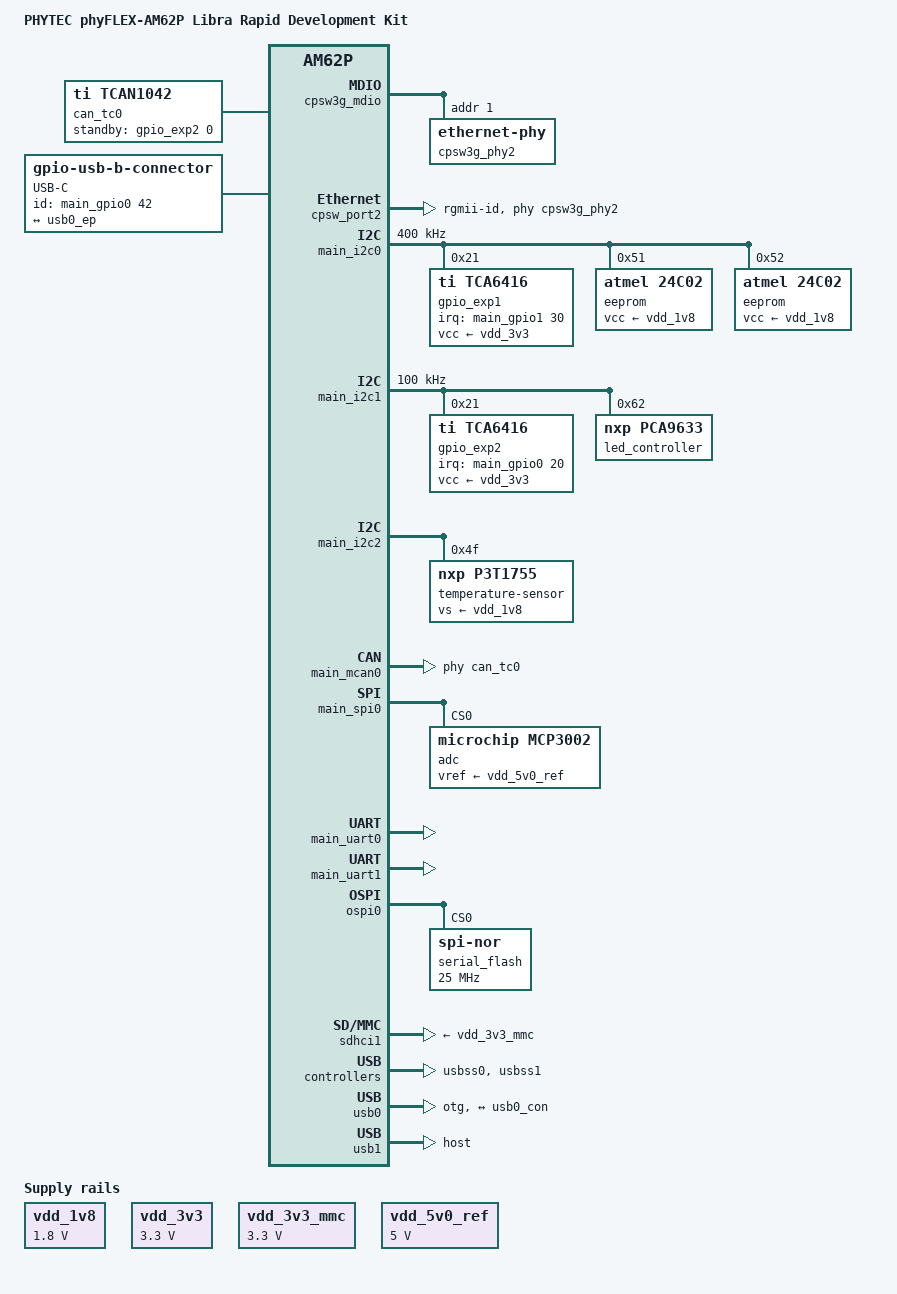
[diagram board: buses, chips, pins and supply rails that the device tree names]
// SPDX-License-Identifier: GPL-2.0-only OR MIT
/*
 * Copyright (C) 2026 PHYTEC America LLC
 * Author: John Ma <jma@phytec.com>
 */

#include <dt-bindings/gpio/gpio.h>
#include <dt-bindings/leds/common.h>
#include <dt-bindings/net/ti-dp83867.h>
#include "k3-am62p5.dtsi"
#include "k3-am62p-phyflex-fpsc-g-som.dtsi"

/ {
	compatible = "phytec,am62p5-phyflex-libra-rdk",
		     "phytec,am62p-phyflex-fpsc-g", "ti,am62p5";
	model = "PHYTEC phyFLEX-AM62P Libra Rapid Development Kit";

	aliases {
		ethernet2 = &cpsw_port2;
		mmc1 = &sdhci1;
		serial2 = &main_uart1;
		serial3 = &main_uart0;
		spi0 = &ospi0;
		spi1 = &main_spi0;
		usb0 = &usb0;
		usb1 = &usb1;
	};

	chosen {
		stdout-path = &main_uart1;
	};

	can_tc0: can-phy0 {
		compatible = "ti,tcan1042";
		#phy-cells = <0>;
		max-bitrate = <8000000>;
		standby-gpios = <&gpio_exp2 0 GPIO_ACTIVE_HIGH>;
	};

	usb0_connector: connector {
		compatible = "gpio-usb-b-connector", "usb-b-connector";
		label = "USB-C";
		data-role = "dual";

		pinctrl-names = "default";
		pinctrl-0 = <&main_usbc_power_pins_default>;

		id-gpios = <&main_gpio0 42 GPIO_ACTIVE_HIGH>;

		port {
			usb0_con: endpoint {
				remote-endpoint = <&usb0_ep>;
			};
		};
	};

	vdd_1v8: regulator-vdd-1v8 {
		compatible = "regulator-fixed";
		regulator-name = "VDD_1V8";
		regulator-min-microvolt = <1800000>;
		regulator-max-microvolt = <1800000>;
		regulator-always-on;
		regulator-boot-on;
	};

	vdd_3v3: regulator-vdd-3v3 {
		compatible = "regulator-fixed";
		regulator-name = "VDD_3V3";
		regulator-min-microvolt = <3300000>;
		regulator-max-microvolt = <3300000>;
		regulator-always-on;
		regulator-boot-on;
	};

	vdd_3v3_mmc: regulator-vdd-3v3-mmc {
		compatible = "regulator-fixed";
		regulator-name = "VDD_3V3_MMC";
		regulator-min-microvolt = <3300000>;
		regulator-max-microvolt = <3300000>;
		regulator-always-on;
		regulator-boot-on;
	};

	vdd_5v0_ref: regulator-vdd-5v0-ref {
		compatible = "regulator-fixed";
		regulator-name = "VDD_5V0_REF";
		regulator-min-microvolt = <5000000>;
		regulator-max-microvolt = <5000000>;
		regulator-always-on;
		regulator-boot-on;
	};
};

&main_pmx0 {
	gpio_exp1_int_pins_default: gpio-exp1-int-default-pins {
		pinctrl-single,pins = <
			AM62PX_IOPAD(0x01f0, PIN_INPUT, 7) /* (C25) EXT_REFCLK1.GPIO1_30 */
		>;
	};

	gpio_exp2_int_pins_default: gpio-exp2-int-default-pins {
		pinctrl-single,pins = <
			AM62PX_IOPAD(0x0050, PIN_INPUT, 7) /* (T21) GPMC0_AD5.GPIO0_20 */
		>;
	};

	main_i2c0_pins_default: main-i2c0-default-pins {
		pinctrl-single,pins = <
			AM62PX_IOPAD(0x01e0, PIN_INPUT, 0) /* (B25) I2C0_SCL */
			AM62PX_IOPAD(0x01e4, PIN_INPUT, 0) /* (A24) I2C0_SDA */
		>;
	};

	main_i2c1_pins_default: main-i2c1-default-pins {
		pinctrl-single,pins = <
			AM62PX_IOPAD(0x01e8, PIN_INPUT, 0) /* (C24) I2C1_SCL */
			AM62PX_IOPAD(0x01ec, PIN_INPUT, 0) /* (B24) I2C1_SDA */
		>;
	};

	main_i2c2_pins_default: main-i2c2-default-pins {
		pinctrl-single,pins = <
			AM62PX_IOPAD(0x00b0, PIN_INPUT, 1) /* (T22) GPMC0_CSn2.I2C2_SCL */
			AM62PX_IOPAD(0x00b4, PIN_INPUT, 1) /* (U25) GPMC0_CSn3.I2C2_SDA */
		>;
	};

	main_mcan0_pins_default: main-mcan0-default-pins {
		pinctrl-single,pins = <
			AM62PX_IOPAD(0x01dc, PIN_INPUT, 0) /* (F20) MCAN0_RX */
			AM62PX_IOPAD(0x01d8, PIN_OUTPUT, 0) /* (B23) MCAN0_TX */
		>;
	};

	main_mmc1_pins_default: main-mmc1-default-pins {
		pinctrl-single,pins = <
			AM62PX_IOPAD(0x023c, PIN_INPUT, 0) /* (H20) MMC1_CMD */
			AM62PX_IOPAD(0x0234, PIN_OUTPUT, 0) /* (J24) MMC1_CLK */
			AM62PX_IOPAD(0x0230, PIN_INPUT, 0) /* (H21) MMC1_DAT0 */
			AM62PX_IOPAD(0x022c, PIN_INPUT, 0) /* (H23) MMC1_DAT1 */
			AM62PX_IOPAD(0x0228, PIN_INPUT, 0) /* (H22) MMC1_DAT2 */
			AM62PX_IOPAD(0x0224, PIN_INPUT, 0) /* (H25) MMC1_DAT3 */
			AM62PX_IOPAD(0x0240, PIN_INPUT, 0) /* (D23) MMC1_SDCD */
		>;
		bootph-all;
	};

	main_rgmii2_pins_default: main-rgmii2-default-pins {
		pinctrl-single,pins = <
			AM62PX_IOPAD(0x0184, PIN_INPUT, 0) /* (E19) RGMII2_RD0 */
			AM62PX_IOPAD(0x0188, PIN_INPUT, 0) /* (E16) RGMII2_RD1 */
			AM62PX_IOPAD(0x018c, PIN_INPUT, 0) /* (E17) RGMII2_RD2 */
			AM62PX_IOPAD(0x0190, PIN_INPUT, 0) /* (C19) RGMII2_RD3 */
			AM62PX_IOPAD(0x0180, PIN_INPUT, 0) /* (D19) RGMII2_RXC */
			AM62PX_IOPAD(0x017c, PIN_INPUT, 0) /* (F19) RGMII2_RX_CTL */
			AM62PX_IOPAD(0x016c, PIN_INPUT, 0) /* (B19) RGMII2_TD0 */
			AM62PX_IOPAD(0x0170, PIN_INPUT, 0) /* (A21) RGMII2_TD1 */
			AM62PX_IOPAD(0x0174, PIN_INPUT, 0) /* (D17) RGMII2_TD2 */
			AM62PX_IOPAD(0x0178, PIN_INPUT, 0) /* (A19) RGMII2_TD3 */
			AM62PX_IOPAD(0x0168, PIN_INPUT, 0) /* (D16) RGMII2_TXC */
			AM62PX_IOPAD(0x0164, PIN_INPUT, 0) /* (A20) RGMII2_TX_CTL */
		>;
	};

	main_spi0_pins_default: main-spi0-default-pins {
		pinctrl-single,pins = <
			AM62PX_IOPAD(0x01bc, PIN_INPUT, 0) /* (B21) SPI0_CLK */
			AM62PX_IOPAD(0x01b4, PIN_INPUT, 0) /* (D20) SPI0_CS0 */
			AM62PX_IOPAD(0x01c0, PIN_INPUT, 0) /* (B20) SPI0_D0 */
			AM62PX_IOPAD(0x01c4, PIN_INPUT, 0) /* (C21) SPI0_D1 */
		>;
	};

	main_uart0_pins_default: main-uart0-default-pins {
		pinctrl-single,pins = <
			AM62PX_IOPAD(0x01c8, PIN_INPUT, 0) /* (A22) UART0_RXD */
			AM62PX_IOPAD(0x01cc, PIN_OUTPUT, 0) /* (B22) UART0_TXD */
		>;
		bootph-all;
	};

	main_uart1_pins_default: main-uart1-default-pins {
		pinctrl-single,pins = <
			AM62PX_IOPAD(0x01ac, PIN_INPUT, 2) /* (G23) MCASP0_AFSR.UART1_RXD */
			AM62PX_IOPAD(0x01b0, PIN_OUTPUT, 2) /* (G20) MCASP0_ACLKR.UART1_TXD */
		>;
		bootph-all;
	};

	main_usb0_pins_default: main-usb0-default-pins {
		pinctrl-single,pins = <
			AM62PX_IOPAD(0x0254, PIN_OUTPUT, 0) /* (G22) USB0_DRVVBUS */
		>;
	};

	main_usb1_pins_default: main-usb1-default-pins {
		pinctrl-single,pins = <
			AM62PX_IOPAD(0x0258, PIN_OUTPUT, 0) /* (G21) USB1_DRVVBUS */
		>;
	};

	main_usbc_power_pins_default: main-usbc-power-default-pins {
		pinctrl-single,pins = <
			AM62PX_IOPAD(0x00ac, PIN_INPUT, 7) /* (U23) GPMC0_CSn1.GPIO0_42 */
		>;
	};

	ospi0_pins_default: ospi0-default-pins {
		pinctrl-single,pins = <
			AM62PX_IOPAD(0x0000, PIN_OUTPUT, 0) /* (P23) OSPI0_CLK */
			AM62PX_IOPAD(0x002c, PIN_OUTPUT, 0) /* (M25) OSPI0_CSn0 */
			AM62PX_IOPAD(0x000c, PIN_INPUT, 0) /* (L25) OSPI0_D0 */
			AM62PX_IOPAD(0x0010, PIN_INPUT, 0) /* (N24) OSPI0_D1 */
			AM62PX_IOPAD(0x0014, PIN_INPUT, 0) /* (N25) OSPI0_D2 */
			AM62PX_IOPAD(0x0018, PIN_INPUT, 0) /* (M24) OSPI0_D3 */
			AM62PX_IOPAD(0x0008, PIN_INPUT, 0) /* (P22) OSPI0_DQS */
		>;
		bootph-all;
	};
};

&cpsw3g {
	pinctrl-names = "default";
	pinctrl-0 = <&main_rgmii1_pins_default>, <&main_rgmii2_pins_default>;
};

&cpsw3g_mdio {
	cpsw3g_phy2: ethernet-phy@1 {
		reg = <1>;
		tx-fifo-depth = <DP83867_PHYCR_FIFO_DEPTH_4_B_NIB>;
		ti,min-output-impedance;
		ti,rx-internal-delay = <DP83867_RGMIIDCTL_2_00_NS>;
	};
};

&cpsw_port2 {
	phy-mode = "rgmii-id";
	phy-handle = <&cpsw3g_phy2>;
	status = "okay";
};

&main_i2c0 {
	pinctrl-names = "default";
	pinctrl-0 = <&main_i2c0_pins_default>;
	clock-frequency = <400000>;
	status = "okay";

	gpio_exp1: gpio@21 {
		pinctrl-names = "default";
		pinctrl-0 = <&gpio_exp1_int_pins_default>;
		compatible = "ti,tca6416";
		reg = <0x21>;
		vcc-supply = <&vdd_3v3>;
		interrupt-parent = <&main_gpio1>;
		interrupts = <30 IRQ_TYPE_EDGE_FALLING>;
		#gpio-cells = <2>;
		gpio-controller;
		interrupt-controller;
		#interrupt-cells = <2>;
		gpio-line-names = "VCONN_nFAULT", "X_CSI1_CTRL1",
				   "X_CSI1_CTRL3", "X_CSI1_CTRL4",
				   "USB-C_nINT/AUDIO_AC", "X_CSI2_CTRL1",
				   "X_CSI2_CTRL3", "X_CSI2_CTRL4",
				   "CLK_EN_AV", "X_W_nDISABLE1",
				   "X_W_nDISABLE2", "X_PCIE1_nWAKE",
				   "X_PCIE2_nWAKE", "X_UART1_nWAKE",
				   "UART1_BT_RS_SEL", "UART1_RS232_485_SEL";
	};

	eeprom@51 {
		compatible = "atmel,24c02";
		reg = <0x51>;
		pagesize = <16>;
		vcc-supply = <&vdd_1v8>;
	};

	eeprom@52 {
		compatible = "atmel,24c02";
		reg = <0x52>;
		pagesize = <16>;
		vcc-supply = <&vdd_1v8>;
	};
};

&main_i2c1 {
	pinctrl-names = "default";
	pinctrl-0 = <&main_i2c1_pins_default>;
	clock-frequency = <100000>;
	status = "okay";

	gpio_exp2: gpio@21 {
		pinctrl-names = "default";
		pinctrl-0 = <&gpio_exp2_int_pins_default>;
		compatible = "ti,tca6416";
		reg = <0x21>;
		vcc-supply = <&vdd_3v3>;
		interrupt-parent = <&main_gpio0>;
		interrupts = <20 IRQ_TYPE_EDGE_FALLING>;
		#gpio-cells = <2>;
		gpio-controller;
		interrupt-controller;
		#interrupt-cells = <2>;
		gpio-line-names = "CAN1_STBY", "CAN2_STBY",
				   "CAN3_STBY", "X_KEY-E_nALERT",
				   "X_KEY-M_nALERT", "X_SDIO_nWAKE",
				   "X_SDIO_nRESET", "HDMI_EN",
				   "X_RTC_nINT", "LVDS1_BL_EN",
				   "SFP_TX_FAULT", "SFP_TX_DISABLE",
				   "SFP_MOD_ABS", "SFP_RS0",
				   "SFP_RX_LOSS", "SFP_RS1";
		bootph-all;
	};

	led_controller: led-controller@62 {
		#address-cells = <1>;
		#size-cells = <0>;
		compatible = "nxp,pca9633";
		reg = <0x62>;

		led@0 {
			reg = <0>;
			color = <LED_COLOR_ID_RED>;
		};

		led@1 {
			reg = <1>;
			color = <LED_COLOR_ID_GREEN>;
		};

		led@2 {
			reg = <2>;
			color = <LED_COLOR_ID_BLUE>;
		};
	};
};

&main_i2c2 {
	pinctrl-names = "default";
	pinctrl-0 = <&main_i2c2_pins_default>;
	status = "okay";

	temperature-sensor@4f {
		compatible = "nxp,p3t1755";
		reg = <0x4f>;
		vs-supply = <&vdd_1v8>;
	};
};

&main_mcan0 {
	pinctrl-names = "default";
	pinctrl-0 = <&main_mcan0_pins_default>;
	phys = <&can_tc0>;
	status = "okay";
};

&main_spi0 {
	#address-cells = <1>;
	#size-cells = <0>;
	pinctrl-names = "default";
	pinctrl-0 = <&main_spi0_pins_default>;

	ti,pindir-d0-out-d1-in;
	status = "okay";

	adc@0 {
		compatible = "microchip,mcp3002";
		reg = <0>;
		vref-supply = <&vdd_5v0_ref>;
		spi-cpha;
		spi-cpol;
		#io-channel-cells = <1>;
	};
};

&main_uart0 {
	pinctrl-names = "default";
	pinctrl-0 = <&main_uart0_pins_default>;
	bootph-all;
	status = "okay";
};

&main_uart1 {
	pinctrl-names = "default";
	pinctrl-0 = <&main_uart1_pins_default>;
	bootph-all;
	status = "okay";
};

&ospi0 {
	pinctrl-names = "default";
	pinctrl-0 = <&ospi0_pins_default>;
	bootph-all;
	status = "okay";

	serial_flash: flash@0 {
		compatible = "jedec,spi-nor";
		reg = <0x0>;
		spi-tx-bus-width = <4>;
		spi-rx-bus-width = <4>;
		spi-max-frequency = <25000000>;
		cdns,tshsl-ns = <60>;
		cdns,tsd2d-ns = <60>;
		cdns,tchsh-ns = <60>;
		cdns,tslch-ns = <60>;
		cdns,read-delay = <0>;
		bootph-all;
	};
};

&sdhci1 {
	vmmc-supply = <&vdd_3v3_mmc>;
	vqmmc-supply = <&vddshv5_sdio>;
	pinctrl-names = "default";
	pinctrl-0 = <&main_mmc1_pins_default>;
	disable-wp;
	no-1-8-v;
	bootph-all;
	status = "okay";
};

&usbss0 {
	ti,vbus-divider;
	bootph-pre-ram;
	status = "okay";
};

&usb0 {
	dr_mode = "otg";
	usb-role-switch;
	maximum-speed = "high-speed";
	pinctrl-names = "default";
	pinctrl-0 = <&main_usb0_pins_default>;

	port {
		usb0_ep: endpoint {
			remote-endpoint = <&usb0_con>;
		};
	};
};

/* Required for USB DFU Boot */
&usb0_phy_ctrl {
	bootph-pre-ram;
};

&usbss1 {
	ti,vbus-divider;
	status = "okay";
};

&usb1 {
	dr_mode = "host";
	pinctrl-names = "default";
	pinctrl-0 = <&main_usb1_pins_default>;
};
